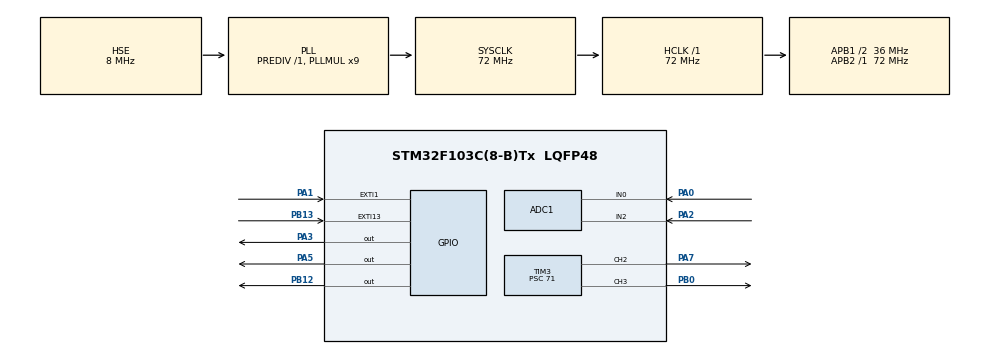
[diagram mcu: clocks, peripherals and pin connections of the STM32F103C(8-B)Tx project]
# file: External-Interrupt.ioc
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ADC1.Channel-0\#ChannelRegularConversion=ADC_CHANNEL_0
ADC1.Channel-1\#ChannelRegularConversion=ADC_CHANNEL_2
ADC1.NbrOfConversion=2
ADC1.NbrOfConversionFlag=1
ADC1.Rank-0\#ChannelRegularConversion=1
ADC1.Rank-1\#ChannelRegularConversion=2
ADC1.SamplingTime-0\#ChannelRegularConversion=ADC_SAMPLETIME_1CYCLE_5
ADC1.SamplingTime-1\#ChannelRegularConversion=ADC_SAMPLETIME_1CYCLE_5
ADC1.master=1
Dma.ADC1.0.Direction=DMA_PERIPH_TO_MEMORY
Dma.ADC1.0.Instance=DMA1_Channel1
Dma.ADC1.0.MemDataAlignment=DMA_MDATAALIGN_WORD
Dma.ADC1.0.MemInc=DMA_MINC_ENABLE
Dma.ADC1.0.Mode=DMA_CIRCULAR
Dma.ADC1.0.PeriphDataAlignment=DMA_PDATAALIGN_WORD
Dma.ADC1.0.PeriphInc=DMA_PINC_DISABLE
Dma.ADC1.0.Priority=DMA_PRIORITY_LOW
Dma.Request0=ADC1
Mcu.Family=STM32F1
Mcu.Name=STM32F103C(8-B)Tx
Mcu.Package=LQFP48
NVIC.DMA1_Channel1_IRQn=true\:0\:0\:false\:false\:true\:false\:true
NVIC.EXTI15_10_IRQn=true\:0\:0\:false\:false\:true\:true\:true
NVIC.EXTI1_IRQn=true\:0\:0\:false\:false\:true\:true\:true
NVIC.PriorityGroup=NVIC_PRIORITYGROUP_4
NVIC.TIM1_UP_IRQn=true\:0\:0\:false\:false\:true\:true\:true
PA0-WKUP.Signal=ADCx_IN0
PA1.GPIO_ModeDefaultEXTI=GPIO_MODE_IT_RISING
PA1.GPIO_PuPd=GPIO_NOPULL
PA1.Signal=GPXTI1
PA13.Mode=Serial_Wire
PA13.Signal=SYS_JTMS-SWDIO
PA14.Mode=Serial_Wire
PA14.Signal=SYS_JTCK-SWCLK
PA2.Signal=ADCx_IN2
PA3.Signal=GPIO_Output
PA5.Signal=GPIO_Output
PA7.Signal=S_TIM3_CH2
PB0.Signal=S_TIM3_CH3
PB12.Signal=GPIO_Output
PB13.Signal=GPXTI13
PD0-OSC_IN.Mode=HSE-External-Oscillator
PD0-OSC_IN.Signal=RCC_OSC_IN
PD1-OSC_OUT.Mode=HSE-External-Oscillator
PD1-OSC_OUT.Signal=RCC_OSC_OUT
ProjectManager.HeapSize=0x200
ProjectManager.StackSize=0x400
ProjectManager.TargetToolchain=STM32CubeIDE
RCC.ADCPresc=RCC_ADCPCLK2_DIV6
RCC.AHBFreq_Value=72000000
RCC.APB1CLKDivider=RCC_HCLK_DIV2
RCC.APB1Freq_Value=36000000
RCC.APB1TimFreq_Value=72000000
RCC.APB2Freq_Value=72000000
RCC.APB2TimFreq_Value=72000000
RCC.HCLKFreq_Value=72000000
RCC.PLLMUL=RCC_PLL_MUL9
RCC.PLLSourceVirtual=RCC_PLLSOURCE_HSE
RCC.SYSCLKFreq_VALUE=72000000
RCC.SYSCLKSource=RCC_SYSCLKSOURCE_PLLCLK
RCC.USBFreq_Value=72000000
SH.ADCx_IN0.0=ADC1_IN0,IN0
SH.ADCx_IN2.0=ADC1_IN2,IN2
SH.S_TIM3_CH2.0=TIM3_CH2,PWM Generation2 CH2
SH.S_TIM3_CH3.0=TIM3_CH3,PWM Generation3 CH3
TIM1.Period=999
TIM1.Prescaler=71
TIM3.Channel-PWM\ Generation2\ CH2=TIM_CHANNEL_2
TIM3.Channel-PWM\ Generation3\ CH3=TIM_CHANNEL_3
TIM3.Period=1023*5
TIM3.Prescaler=71
VP_TIM1_VS_ClockSourceINT.Mode=Internal
board=custom

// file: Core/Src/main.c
/* USER CODE BEGIN Header */
/**
  ******************************************************************************
  * @file           : main.c
  * @brief          : Main program body
  ******************************************************************************
  * @attention
  *
  * <h2><center>&copy; Copyright (c) 2020 STMicroelectronics.
  * All rights reserved.</center></h2>
  *
  * This software component is licensed by ST under BSD 3-Clause license,
  * the "License"; You may not use this file except in compliance with the
  * License. You may obtain a copy of the License at:
  *                        opensource.org/licenses/BSD-3-Clause
  *
  ******************************************************************************
  */
/* USER CODE END Header */
#include "main.h"

ADC_HandleTypeDef hadc1;
DMA_HandleTypeDef hdma_adc1;

TIM_HandleTypeDef htim1;
TIM_HandleTypeDef htim3;

void SystemClock_Config(void);
static void MX_GPIO_Init(void);
static void MX_DMA_Init(void);
static void MX_TIM1_Init(void);
static void MX_ADC1_Init(void);
static void MX_TIM3_Init(void);

/* USER CODE BEGIN 0 */
uint32_t timer_Count = 0;
uint32_t ADC_arr[2];
/* USER CODE END 0 */

int main(void)
{

  /* MCU Configuration--------------------------------------------------------*/

  /* Reset of all peripherals, Initializes the Flash interface and the Systick. */
  HAL_Init();

  /* Configure the system clock */
  SystemClock_Config();

  /* Initialize all configured peripherals */
  MX_GPIO_Init();
  MX_DMA_Init();
  MX_TIM1_Init();
  MX_ADC1_Init();
  MX_TIM3_Init();
  /* USER CODE BEGIN 2 */
  HAL_ADCEx_Calibration_Start(&hadc1);
  HAL_TIM_Base_Start_IT(&htim1);
  HAL_TIM_PWM_Start(&htim3, TIM_CHANNEL_2);
  HAL_TIM_PWM_Start(&htim3, TIM_CHANNEL_3);
  // ADC1 ch0 = X ADC1 ch2 = Y

  /* USER CODE END 2 */

  /* Infinite loop */
  /* USER CODE BEGIN WHILE */
  while (1)
  {
	  if (timer_Count >= 1000){
		  timer_Count = 0;
		  HAL_GPIO_TogglePin(GPIOA, GPIO_PIN_5);
	  }
	HAL_ADC_Start_DMA(&hadc1, ADC_arr, 2);
	TIM3 ->CCR2 = ADC_arr[0];
	TIM3 ->CCR3 = ADC_arr[1];

//	  HAL_ADC_Start(&hadc1);
//	  HAL_ADC_PollForConversion(&hadc1, 10);
//	  TIM3->CCR2  = HAL_ADC_GetValue(&hadc1);
//
//	 HAL_ADC_Start(&hadc1);
//	 HAL_ADC_PollForConversion(&hadc1, 10);
//	 TIM3->CCR3 = HAL_ADC_GetValue(&hadc1);

    /* USER CODE END WHILE */

  }
}

void SystemClock_Config(void)
{
  RCC_OscInitTypeDef RCC_OscInitStruct = {0};
  RCC_ClkInitTypeDef RCC_ClkInitStruct = {0};
  RCC_PeriphCLKInitTypeDef PeriphClkInit = {0};

  /** Initializes the RCC Oscillators according to the specified parameters
  * in the RCC_OscInitTypeDef structure.
  */
  RCC_OscInitStruct.OscillatorType = RCC_OSCILLATORTYPE_HSE;
  RCC_OscInitStruct.HSEState = RCC_HSE_ON;
  RCC_OscInitStruct.HSEPredivValue = RCC_HSE_PREDIV_DIV1;
  RCC_OscInitStruct.HSIState = RCC_HSI_ON;
  RCC_OscInitStruct.PLL.PLLState = RCC_PLL_ON;
  RCC_OscInitStruct.PLL.PLLSource = RCC_PLLSOURCE_HSE;
  RCC_OscInitStruct.PLL.PLLMUL = RCC_PLL_MUL9;
  if (HAL_RCC_OscConfig(&RCC_OscInitStruct) != HAL_OK)
  {
    Error_Handler();
  }
  /** Initializes the CPU, AHB and APB buses clocks
  */
  RCC_ClkInitStruct.ClockType = RCC_CLOCKTYPE_HCLK|RCC_CLOCKTYPE_SYSCLK
                              |RCC_CLOCKTYPE_PCLK1|RCC_CLOCKTYPE_PCLK2;
  RCC_ClkInitStruct.SYSCLKSource = RCC_SYSCLKSOURCE_PLLCLK;
  RCC_ClkInitStruct.AHBCLKDivider = RCC_SYSCLK_DIV1;
  RCC_ClkInitStruct.APB1CLKDivider = RCC_HCLK_DIV2;
  RCC_ClkInitStruct.APB2CLKDivider = RCC_HCLK_DIV1;

  if (HAL_RCC_ClockConfig(&RCC_ClkInitStruct, FLASH_LATENCY_2) != HAL_OK)
  {
    Error_Handler();
  }
  PeriphClkInit.PeriphClockSelection = RCC_PERIPHCLK_ADC;
  PeriphClkInit.AdcClockSelection = RCC_ADCPCLK2_DIV6;
  if (HAL_RCCEx_PeriphCLKConfig(&PeriphClkInit) != HAL_OK)
  {
    Error_Handler();
  }
}

static void MX_ADC1_Init(void)
{

  ADC_ChannelConfTypeDef sConfig = {0};

  /** Common config
  */
  hadc1.Instance = ADC1;
  hadc1.Init.ScanConvMode = ADC_SCAN_ENABLE;
  hadc1.Init.ContinuousConvMode = DISABLE;
  hadc1.Init.DiscontinuousConvMode = DISABLE;
  hadc1.Init.ExternalTrigConv = ADC_SOFTWARE_START;
  hadc1.Init.DataAlign = ADC_DATAALIGN_RIGHT;
  hadc1.Init.NbrOfConversion = 2;
  if (HAL_ADC_Init(&hadc1) != HAL_OK)
  {
    Error_Handler();
  }
  /** Configure Regular Channel
  */
  sConfig.Channel = ADC_CHANNEL_0;
  sConfig.Rank = ADC_REGULAR_RANK_1;
  sConfig.SamplingTime = ADC_SAMPLETIME_1CYCLE_5;
  if (HAL_ADC_ConfigChannel(&hadc1, &sConfig) != HAL_OK)
  {
    Error_Handler();
  }
  /** Configure Regular Channel
  */
  sConfig.Channel = ADC_CHANNEL_2;
  sConfig.Rank = ADC_REGULAR_RANK_2;
  if (HAL_ADC_ConfigChannel(&hadc1, &sConfig) != HAL_OK)
  {
    Error_Handler();
  }

}

static void MX_TIM1_Init(void)
{

  TIM_ClockConfigTypeDef sClockSourceConfig = {0};
  TIM_MasterConfigTypeDef sMasterConfig = {0};

  htim1.Instance = TIM1;
  htim1.Init.Prescaler = 71;
  htim1.Init.CounterMode = TIM_COUNTERMODE_UP;
  htim1.Init.Period = 999;
  htim1.Init.ClockDivision = TIM_CLOCKDIVISION_DIV1;
  htim1.Init.RepetitionCounter = 0;
  htim1.Init.AutoReloadPreload = TIM_AUTORELOAD_PRELOAD_DISABLE;
  if (HAL_TIM_Base_Init(&htim1) != HAL_OK)
  {
    Error_Handler();
  }
  sClockSourceConfig.ClockSource = TIM_CLOCKSOURCE_INTERNAL;
  if (HAL_TIM_ConfigClockSource(&htim1, &sClockSourceConfig) != HAL_OK)
  {
    Error_Handler();
  }
  sMasterConfig.MasterOutputTrigger = TIM_TRGO_RESET;
  sMasterConfig.MasterSlaveMode = TIM_MASTERSLAVEMODE_DISABLE;
  if (HAL_TIMEx_MasterConfigSynchronization(&htim1, &sMasterConfig) != HAL_OK)
  {
    Error_Handler();
  }

}

static void MX_TIM3_Init(void)
{

  TIM_MasterConfigTypeDef sMasterConfig = {0};
  TIM_OC_InitTypeDef sConfigOC = {0};

  htim3.Instance = TIM3;
  htim3.Init.Prescaler = 71;
  htim3.Init.CounterMode = TIM_COUNTERMODE_UP;
  htim3.Init.Period = 1023*5;
  htim3.Init.ClockDivision = TIM_CLOCKDIVISION_DIV1;
  htim3.Init.AutoReloadPreload = TIM_AUTORELOAD_PRELOAD_DISABLE;
  if (HAL_TIM_PWM_Init(&htim3) != HAL_OK)
  {
    Error_Handler();
  }
  sMasterConfig.MasterOutputTrigger = TIM_TRGO_RESET;
  sMasterConfig.MasterSlaveMode = TIM_MASTERSLAVEMODE_DISABLE;
  if (HAL_TIMEx_MasterConfigSynchronization(&htim3, &sMasterConfig) != HAL_OK)
  {
    Error_Handler();
  }
  sConfigOC.OCMode = TIM_OCMODE_PWM1;
  sConfigOC.Pulse = 0;
  sConfigOC.OCPolarity = TIM_OCPOLARITY_HIGH;
  sConfigOC.OCFastMode = TIM_OCFAST_DISABLE;
  if (HAL_TIM_PWM_ConfigChannel(&htim3, &sConfigOC, TIM_CHANNEL_2) != HAL_OK)
  {
    Error_Handler();
  }
  if (HAL_TIM_PWM_ConfigChannel(&htim3, &sConfigOC, TIM_CHANNEL_3) != HAL_OK)
  {
    Error_Handler();
  }
  HAL_TIM_MspPostInit(&htim3);

}

static void MX_DMA_Init(void)
{

  /* DMA controller clock enable */
  __HAL_RCC_DMA1_CLK_ENABLE();

  /* DMA interrupt init */
  /* DMA1_Channel1_IRQn interrupt configuration */
  HAL_NVIC_SetPriority(DMA1_Channel1_IRQn, 0, 0);
  HAL_NVIC_EnableIRQ(DMA1_Channel1_IRQn);

}

static void MX_GPIO_Init(void)
{
  GPIO_InitTypeDef GPIO_InitStruct = {0};

  /* GPIO Ports Clock Enable */
  __HAL_RCC_GPIOD_CLK_ENABLE();
  __HAL_RCC_GPIOA_CLK_ENABLE();
  __HAL_RCC_GPIOB_CLK_ENABLE();

  /*Configure GPIO pin Output Level */
  HAL_GPIO_WritePin(GPIOA, GPIO_PIN_3|GPIO_PIN_5, GPIO_PIN_RESET);

  /*Configure GPIO pin Output Level */
  HAL_GPIO_WritePin(GPIOB, GPIO_PIN_12, GPIO_PIN_RESET);

  /*Configure GPIO pin : PA1 */
  GPIO_InitStruct.Pin = GPIO_PIN_1;
  GPIO_InitStruct.Mode = GPIO_MODE_IT_RISING;
  GPIO_InitStruct.Pull = GPIO_NOPULL;
  HAL_GPIO_Init(GPIOA, &GPIO_InitStruct);

  /*Configure GPIO pins : PA3 PA5 */
  GPIO_InitStruct.Pin = GPIO_PIN_3|GPIO_PIN_5;
  GPIO_InitStruct.Mode = GPIO_MODE_OUTPUT_PP;
  GPIO_InitStruct.Pull = GPIO_NOPULL;
  GPIO_InitStruct.Speed = GPIO_SPEED_FREQ_LOW;
  HAL_GPIO_Init(GPIOA, &GPIO_InitStruct);

  /*Configure GPIO pin : PB12 */
  GPIO_InitStruct.Pin = GPIO_PIN_12;
  GPIO_InitStruct.Mode = GPIO_MODE_OUTPUT_PP;
  GPIO_InitStruct.Pull = GPIO_NOPULL;
  GPIO_InitStruct.Speed = GPIO_SPEED_FREQ_LOW;
  HAL_GPIO_Init(GPIOB, &GPIO_InitStruct);

  /*Configure GPIO pin : PB13 */
  GPIO_InitStruct.Pin = GPIO_PIN_13;
  GPIO_InitStruct.Mode = GPIO_MODE_IT_RISING;
  GPIO_InitStruct.Pull = GPIO_NOPULL;
  HAL_GPIO_Init(GPIOB, &GPIO_InitStruct);

  /* EXTI interrupt init*/
  HAL_NVIC_SetPriority(EXTI1_IRQn, 0, 0);
  HAL_NVIC_EnableIRQ(EXTI1_IRQn);

  HAL_NVIC_SetPriority(EXTI15_10_IRQn, 0, 0);
  HAL_NVIC_EnableIRQ(EXTI15_10_IRQn);

}

/* USER CODE BEGIN 4 */
//?�� ?��?�� 1초에 ?��번씩 time interrupt 발생 ?��?��마자 external interrupt 발생 ?��?��

void HAL_GPIO_EXTI_Callback(uint16_t GPIO_Pin)
{
	if (GPIO_Pin == GPIO_PIN_1){
			HAL_GPIO_TogglePin(GPIOA, GPIO_PIN_3);
		}
	if (GPIO_Pin == GPIO_PIN_13){
		for (uint32_t i = 0 ; i<(72000*5) ; i++);
		if(HAL_GPIO_ReadPin(GPIOB, GPIO_PIN_13) != 0){
			HAL_GPIO_TogglePin(GPIOB, GPIO_PIN_12);
		}

	}
}

void HAL_TIM_PeriodElapsedCallback(TIM_HandleTypeDef *htim)
{
	if (htim->Instance == TIM1)
		timer_Count++;
	else return;
}
//void HAL_ADC_ConvCpltCallback(ADC_HandleTypeDef* hadc)
//{
//	if (hadc->Instance == ADC1){
//		TIM3 ->CCR2 = ADC_arr[0];
//		TIM3 ->CCR3 = ADC_arr[1];
//	}
//}

/* USER CODE END 4 */

void Error_Handler(void)
{
}

/************************ (C) COPYRIGHT STMicroelectronics *****END OF FILE****/
